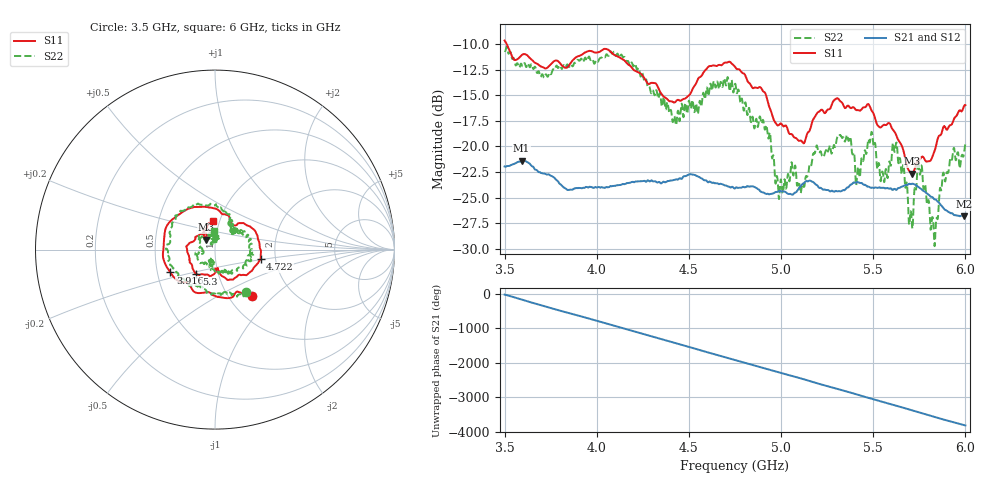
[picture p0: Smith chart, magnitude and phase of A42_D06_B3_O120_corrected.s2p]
! Created with skrf 1.9.0 (http://scikit-rf.org).
# Hz S RI R 50.0
!freq ReS11 ImS11 ReS21 ImS21 ReS12 ImS12 ReS22 ImS22
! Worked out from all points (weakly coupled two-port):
!   1601 points, 3.5 GHz to 6 GHz, reference 50 ohm
!   highest |S21| = -21.38 dB at 3.592 GHz (marker M1); lowest = -26.8 dB at 5.992 GHz (marker M2)
!   lowest |S11| = -22.7 dB at 5.711 GHz (marker M3), VSWR 1.16, Z = 45.1 + j5.03 ohm
!   |S11| at or under -10 dB: 3.511 GHz to end of sweep
!   |S22| runs from -29.7 to -10.3 dB; largest |S21 - S12| = 0.0009
!   S11 on the Smith chart (normalised r, x): 3.5 GHz: 1.28, -0.74; 3.916 GHz: 0.59, -0.16; 4.722 GHz: 1.67, -0.18; 5.3 GHz: 0.78, -0.22; 6 GHz: 0.93, +0.30
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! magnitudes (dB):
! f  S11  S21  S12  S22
! 3.5 GHz  -9.7  -22.0  -21.9  -10.7
! 3.592 GHz  -11.1  -21.4  -21.4  -12.0
! 3.916 GHz  -11.1  -24.1  -24.0  -11.4
! 3.917 GHz  -11.1  -24.1  -24.0  -11.4
! 4.334 GHz  -14.3  -23.5  -23.4  -15.3
! 4.422 GHz  -15.7  -23.3  -23.2  -17.1
! 4.722 GHz  -11.7  -24.0  -23.9  -14.6
! 4.75 GHz  -12.2  -24.1  -24.0  -13.9
! 4.93 GHz  -15.8  -24.6  -24.6  -19.1
! 4.997 GHz  -17.8  -24.4  -24.3  -23.4
! 5.167 GHz  -17.7  -23.4  -23.4  -21.5
! 5.3 GHz  -15.3  -24.4  -24.3  -19.5
! 5.416 GHz  -16.5  -23.5  -23.5  -22.2
! 5.484 GHz  -16.2  -24.0  -24.0  -19.3
! 5.584 GHz  -17.7  -24.1  -24.1  -21.9
! 5.619 GHz  -18.7  -24.2  -24.2  -20.4
! 5.711 GHz  -22.7  -23.6  -23.6  -27.8
! 5.753 GHz  -21.3  -24.1  -24.0  -22.8
! 5.839 GHz  -20.1  -25.2  -25.1  -27.9
! 5.873 GHz  -18.5  -25.8  -25.8  -23.6
! 5.992 GHz  -16.1  -26.8  -26.7  -20.7
! 6 GHz  -16.0  -26.8  -26.8  -19.8
